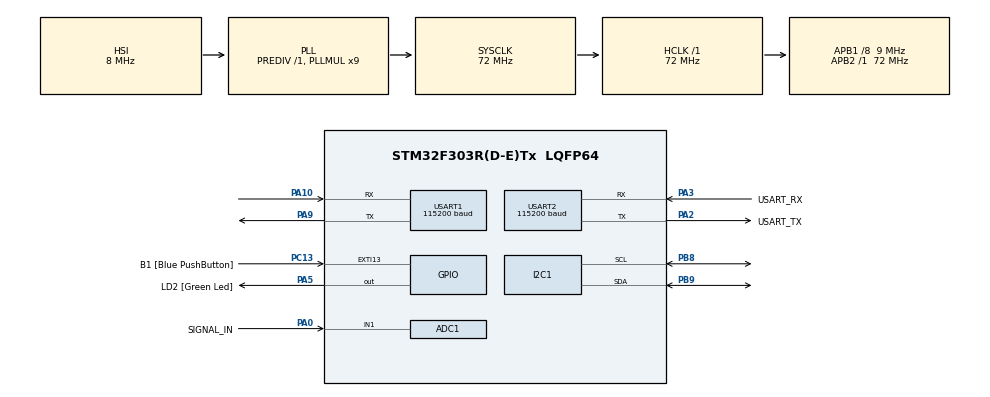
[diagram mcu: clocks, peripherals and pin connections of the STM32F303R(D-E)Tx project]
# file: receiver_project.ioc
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ADC1.Channel-0\#ChannelRegularConversion=ADC_CHANNEL_1
ADC1.DMAContinuousRequests=ENABLE
ADC1.ExternalTrigConv=ADC_EXTERNALTRIGCONV_T2_TRGO
ADC1.NbrOfConversionFlag=1
ADC1.Offset-0\#ChannelRegularConversion=0
ADC1.OffsetNumber-0\#ChannelRegularConversion=ADC_OFFSET_NONE
ADC1.Rank-0\#ChannelRegularConversion=1
ADC1.SamplingTime-0\#ChannelRegularConversion=ADC_SAMPLETIME_1CYCLE_5
ADC1.master=1
Dma.ADC1.0.Direction=DMA_PERIPH_TO_MEMORY
Dma.ADC1.0.Instance=DMA1_Channel1
Dma.ADC1.0.MemDataAlignment=DMA_MDATAALIGN_HALFWORD
Dma.ADC1.0.MemInc=DMA_MINC_ENABLE
Dma.ADC1.0.Mode=DMA_CIRCULAR
Dma.ADC1.0.PeriphDataAlignment=DMA_PDATAALIGN_HALFWORD
Dma.ADC1.0.PeriphInc=DMA_PINC_DISABLE
Dma.ADC1.0.Priority=DMA_PRIORITY_HIGH
Dma.Request0=ADC1
I2C1.Timing=0x00201D2B
Mcu.Family=STM32F3
Mcu.Name=STM32F303R(D-E)Tx
Mcu.Package=LQFP64
NVIC.DMA1_Channel1_IRQn=true\:0\:0\:false\:false\:true\:false\:true\:true
NVIC.PriorityGroup=NVIC_PRIORITYGROUP_0
NVIC.TIM2_IRQn=true\:0\:0\:false\:false\:true\:true\:true\:true
NVIC.USART2_IRQn=true\:0\:0\:false\:false\:true\:true\:true\:true
PA0.GPIO_Label=SIGNAL_IN
PA0.Mode=IN1-Single-Ended
PA0.Signal=ADC1_IN1
PA10.Mode=Asynchronous
PA10.Signal=USART1_RX
PA13.GPIO_Label=TMS
PA13.Mode=Serial_Wire
PA13.Signal=SYS_JTMS-SWDIO
PA14.GPIO_Label=TCK
PA14.Mode=Serial_Wire
PA14.Signal=SYS_JTCK-SWCLK
PA2.GPIO_Label=USART_TX
PA2.GPIO_Mode=GPIO_MODE_AF_PP
PA2.GPIO_PuPd=GPIO_NOPULL
PA2.GPIO_Speed=GPIO_SPEED_FREQ_LOW
PA2.Mode=Asynchronous
PA2.Signal=USART2_TX
PA3.GPIO_Label=USART_RX
PA3.GPIO_Mode=GPIO_MODE_AF_PP
PA3.GPIO_PuPd=GPIO_NOPULL
PA3.GPIO_Speed=GPIO_SPEED_FREQ_LOW
PA3.Mode=Asynchronous
PA3.Signal=USART2_RX
PA5.GPIO_Label=LD2 [Green Led]
PA5.GPIO_Mode=GPIO_MODE_OUTPUT_PP
PA5.GPIO_PuPd=GPIO_NOPULL
PA5.GPIO_Speed=GPIO_SPEED_FREQ_LOW
PA5.Signal=GPIO_Output
PA9.Mode=Asynchronous
PA9.Signal=USART1_TX
PB3.GPIO_Label=SWO
PB3.Signal=SYS_JTDO-TRACESWO
PB8.Mode=I2C
PB8.Signal=I2C1_SCL
PB9.Mode=I2C
PB9.Signal=I2C1_SDA
PC13.GPIO_Label=B1 [Blue PushButton]
PC13.GPIO_ModeDefaultEXTI=GPIO_MODE_IT_FALLING
PC13.Signal=GPXTI13
PC14-OSC32_IN.Mode=LSE-External-Oscillator
PC14-OSC32_IN.Signal=RCC_OSC32_IN
PC15-OSC32_OUT.Mode=LSE-External-Oscillator
PC15-OSC32_OUT.Signal=RCC_OSC32_OUT
PF0-OSC_IN.Mode=HSE-External-Clock-Source
PF0-OSC_IN.Signal=RCC_OSC_IN
PF1-OSC_OUT.Signal=RCC_OSC_OUT
ProjectManager.HeapSize=0x200
ProjectManager.StackSize=0x400
ProjectManager.TargetToolchain=CMake
RCC.AHBFreq_Value=72000000
RCC.APB1CLKDivider=RCC_HCLK_DIV8
RCC.APB1Freq_Value=9000000
RCC.APB1TimFreq_Value=18000000
RCC.APB2Freq_Value=72000000
RCC.APB2TimFreq_Value=72000000
RCC.CortexFreq_Value=72000000
RCC.HCLKFreq_Value=72000000
RCC.HSE_VALUE=8000000
RCC.HSI_VALUE=8000000
RCC.PLLM=8
RCC.PLLMUL=RCC_PLL_MUL9
RCC.PLLN=336
RCC.PLLP=RCC_PLLP_DIV4
RCC.PLLQ=7
RCC.RCC_PLLsource_Clock_Source_FROM_HSE=RCC_HSE_PREDIV_DIV2
RCC.SYSCLKFreq_VALUE=72000000
RCC.SYSCLKSourceVirtual=RCC_SYSCLKSOURCE_PLLCLK
RCC.USBFreq_Value=72000000
TIM2.Period=19
TIM2.Prescaler=19
TIM2.TIM_MasterOutputTrigger=TIM_TRGO_UPDATE
USART1.BaudRate=115200
USART1.VirtualMode-Asynchronous=VM_ASYNC
USART2.BaudRate=115200
USART2.VirtualMode-Asynchronous=VM_ASYNC
VP_TIM2_VS_ClockSourceINT.Mode=Internal
board=NUCLEO-F303RE

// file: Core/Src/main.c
/* USER CODE BEGIN Header */
/**
  ******************************************************************************
  * @file           : main.c
  * @brief          : Main program body
  ******************************************************************************
  * @attention
  *
  * Copyright (c) 2025 STMicroelectronics.
  * All rights reserved.
  *
  * This software is licensed under terms that can be found in the LICENSE file
  * in the root directory of this software component.
  * If no LICENSE file comes with this software, it is provided AS-IS.
  *
  ******************************************************************************
  */
/* USER CODE END Header */
#include "main.h"
#include "adc.h"
#include "dma.h"
#include "i2c.h"
#include "stm32f3xx_hal.h"
#include "stm32f3xx_hal_uart.h"
#include "tim.h"
#include "usart.h"
#include "gpio.h"

/* USER CODE BEGIN Includes */
#include "stm32_opal_receiver.h"
#include "stm32_opal_uart_rx_cmd.h"
#include "ssd1306_oled.h"
#include <stdint.h>
/* USER CODE END Includes */

/* USER CODE BEGIN PD */
#define PUTCHAR_PROTOTYPE int __io_putchar(int ch)
/* USER CODE END PD */

/* USER CODE BEGIN PV */
const char* display_TAG = "OPAL RX Unit";
bool TIM3_ITR_FLAG = false;
/* USER CODE END PV */

void SystemClock_Config(void);

/* USER CODE BEGIN 0 */
void display_summary(char* status_str, int bit_errors_count, int bit_valid_count) {
  char status_dis_str[20];
  sprintf(status_dis_str, "R= %s", status_str);

  char ber_str[20];
  sprintf(ber_str, "Bit Error= %d", bit_errors_count);

  char bit_valid_str[24];
  sprintf(bit_valid_str, "Bit Valid= %d", bit_valid_count);

  ssd1306_clear_screen();

  ssd1306_draw_string(display_TAG, (TPosition){20, 0});
  ssd1306_draw_string("---Summary---", (TPosition){18, 8});

  ssd1306_draw_string(status_dis_str, (TPosition){0, 24});
  ssd1306_draw_string(ber_str, (TPosition){0, 32});
  ssd1306_draw_string(bit_valid_str, (TPosition){0, 40});

  ssd1306_update();
}
/* USER CODE END 0 */

int main(void)
{

  /* MCU Configuration--------------------------------------------------------*/

  /* Reset of all peripherals, Initializes the Flash interface and the Systick. */
  HAL_Init();

  /* Configure the system clock */
  SystemClock_Config();

  /* Initialize all configured peripherals */
  MX_GPIO_Init();
  MX_DMA_Init();
  MX_USART2_UART_Init();
  MX_ADC1_Init();
  MX_TIM2_Init();
  MX_I2C1_Init();
  MX_USART1_UART_Init();
  /* USER CODE BEGIN 2 */

  OPAL_Receiver_Init(&hadc1, &htim2);
  UART_RX_Init(&huart2);

  ssd1306_init();
  ssd1306_clear_screen();
  ssd1306_draw_string("RX OPAL RECEIVER", (TPosition) {20, 0});
  ssd1306_draw_string("Hello World!!", (TPosition) {32, 32});
  ssd1306_update();

  OPAL_Receiver_Start_Sniffing(&hrx);

  uint16_t pwr_indicator = 0;

  char* RX_data_str_fields[] = {
      "STATUS=",
      "BIN_ERRORS=",
      "BIN_VALID=",
  };

  char* RX_str_prefix = "RX_DATA: ";

  /* USER CODE END 2 */

  /* Infinite loop */
  /* USER CODE BEGIN WHILE */
  while (1)
  {
    // Listen UART Commands and process them
    if (huart_rx.cmd_ready) {
        UART_Command cmd = UART_RX_ParseCmd(&huart_rx);
        printf(cmd.has_param ? "Received Command: %s, with param: %s\r\n" : "Received Command: %s\r\n", cmd.command, cmd.param);
        OPAL_RX_UART_processCommand(&cmd, &hrx);
    }

    if (TIM3_ITR_FLAG) {
      // Compute the y(n) after filtering
      pwr_indicator = compute_filter(void);
    }

    // OPAL Receiver Processing
    OPAL_Receiver_Process(&hrx);

    // If a frame is ready to be decoded, decode it!
    if (hrx.Status == OPAL_RECEIVER_WAITING_DECODE) {
        OPAL_Frame receivedFrame;
        OPAL_Status decoding_status = OPAL_Receiver_Decode(&hrx, &receivedFrame);

        int bit_errors_count = 0;
        char* status_str = "UNSPECIFIED";
        uint8_t status_int = 0x0;

        switch (decoding_status) {
          case OPAL_SUCCESS:
            HAL_GPIO_TogglePin(GPIOA, GPIO_PIN_5);
            status_str = "SUCCESS";
            status_int = 0x1;
            bit_errors_count = 0;
            break;

          case OPAL_ERROR_CRC_MISMATCH:
            status_str = "CRC_MISMATCH";
            status_int = 0x2;
            bit_errors_count = OPAL_Frame_getHammingDistance(&receivedFrame, &OPAL_TestFrame);
            break;

          default:
            break;
        }

        int bit_valid_count = (OPAL_FRAME_SIZE * 8) - bit_errors_count;

        // Print received data summary
        printf("Data received! %s %s%s, %s%i, %s%i\r\n",
          RX_str_prefix,
          RX_data_str_fields[0], status_str,
          RX_data_str_fields[1], bit_errors_count,
          RX_data_str_fields[2], bit_valid_count);

        // Display received data summary
        display_summary(status_str, bit_errors_count, bit_valid_count);

        //

        // Send summary to BLE module
        // Send BER to BLE module
        char ber_res[20];
        strcpy(ber_res, "BER=");
        char ber_str[12];
        sprintf(ber_str, "%d\0", (uint16_t) ((bit_errors_count * 1000) / (bit_errors_count + bit_valid_count)));
        strcat(ber_res, ber_str);
        HAL_UART_Transmit(&huart1, (uint8_t*) &ber_res, sizeof(ber_res), 1);
        HAL_Delay(100);

        // Send pw level to BLE module
        char pwr_res[20];
        strcpy(pwr_res, "RX_PWR=");
        char pwr_str[12];
        sprintf(pwr_str, "%d\0", 50);
        strcat(pwr_res, pwr_str);
        HAL_UART_Transmit(&huart1, (uint8_t*) &pwr_res, sizeof(pwr_res), 1);
        HAL_Delay(100);

        // Send status to BLE module
        char stat_res[20];
        strcpy(stat_res, "STATUS=");
        char stat_str[12];
        sprintf(stat_str, "%d\0", status_int);
        strcat(stat_res, stat_str);
        HAL_UART_Transmit(&huart1, (uint8_t*) &stat_res, sizeof(stat_res), 1);
        HAL_Delay(100);

        //

        OPAL_Receiver_Start_Sniffing(&hrx); // Return to sniffing mode
    }

    /* USER CODE END WHILE */

  }
}

void SystemClock_Config(void)
{
  RCC_OscInitTypeDef RCC_OscInitStruct = {0};
  RCC_ClkInitTypeDef RCC_ClkInitStruct = {0};
  RCC_PeriphCLKInitTypeDef PeriphClkInit = {0};

  /** Initializes the RCC Oscillators according to the specified parameters
  * in the RCC_OscInitTypeDef structure.
  */
  RCC_OscInitStruct.OscillatorType = RCC_OSCILLATORTYPE_HSI;
  RCC_OscInitStruct.HSIState = RCC_HSI_ON;
  RCC_OscInitStruct.HSICalibrationValue = RCC_HSICALIBRATION_DEFAULT;
  RCC_OscInitStruct.PLL.PLLState = RCC_PLL_ON;
  RCC_OscInitStruct.PLL.PLLSource = RCC_PLLSOURCE_HSI;
  RCC_OscInitStruct.PLL.PLLMUL = RCC_PLL_MUL9;
  RCC_OscInitStruct.PLL.PREDIV = RCC_PREDIV_DIV1;
  if (HAL_RCC_OscConfig(&RCC_OscInitStruct) != HAL_OK)
  {
    Error_Handler();
  }

  /** Initializes the CPU, AHB and APB buses clocks
  */
  RCC_ClkInitStruct.ClockType = RCC_CLOCKTYPE_HCLK|RCC_CLOCKTYPE_SYSCLK
                              |RCC_CLOCKTYPE_PCLK1|RCC_CLOCKTYPE_PCLK2;
  RCC_ClkInitStruct.SYSCLKSource = RCC_SYSCLKSOURCE_PLLCLK;
  RCC_ClkInitStruct.AHBCLKDivider = RCC_SYSCLK_DIV1;
  RCC_ClkInitStruct.APB1CLKDivider = RCC_HCLK_DIV8;
  RCC_ClkInitStruct.APB2CLKDivider = RCC_HCLK_DIV1;

  if (HAL_RCC_ClockConfig(&RCC_ClkInitStruct, FLASH_LATENCY_2) != HAL_OK)
  {
    Error_Handler();
  }
  PeriphClkInit.PeriphClockSelection = RCC_PERIPHCLK_USART1|RCC_PERIPHCLK_USART2
                              |RCC_PERIPHCLK_I2C1|RCC_PERIPHCLK_ADC12
                              |RCC_PERIPHCLK_TIM2;
  PeriphClkInit.Usart1ClockSelection = RCC_USART1CLKSOURCE_PCLK2;
  PeriphClkInit.Usart2ClockSelection = RCC_USART2CLKSOURCE_PCLK1;
  PeriphClkInit.Adc12ClockSelection = RCC_ADC12PLLCLK_DIV1;
  PeriphClkInit.I2c1ClockSelection = RCC_I2C1CLKSOURCE_HSI;
  PeriphClkInit.Tim2ClockSelection = RCC_TIM2CLK_HCLK;
  if (HAL_RCCEx_PeriphCLKConfig(&PeriphClkInit) != HAL_OK)
  {
    Error_Handler();
  }
}

/* USER CODE BEGIN 4 */

void HAL_ADC_ConvHalfCpltCallback(ADC_HandleTypeDef *hadc) {
  if (hadc->Instance == ADC1) {
    OPAL_Receiver_Buffer_Callback(&hrx, true);
  }
}

void HAL_ADC_ConvCpltCallback(ADC_HandleTypeDef *hadc) {
  if (hadc->Instance == ADC1) {
    OPAL_Receiver_Buffer_Callback(&hrx, false);
  }
}

void HAL_UART_RxCpltCallback(UART_HandleTypeDef* huart) {
    UART_RX_Callback(huart);
}

PUTCHAR_PROTOTYPE
{
  // Used for Printf
  HAL_UART_Transmit(&huart2, (uint8_t *)&ch, 1, 0xFFFF);

  return ch;
}
/* USER CODE END 4 */

void Error_Handler(void)
{
  __disable_irq();
  while (1)
  {
  }
}
